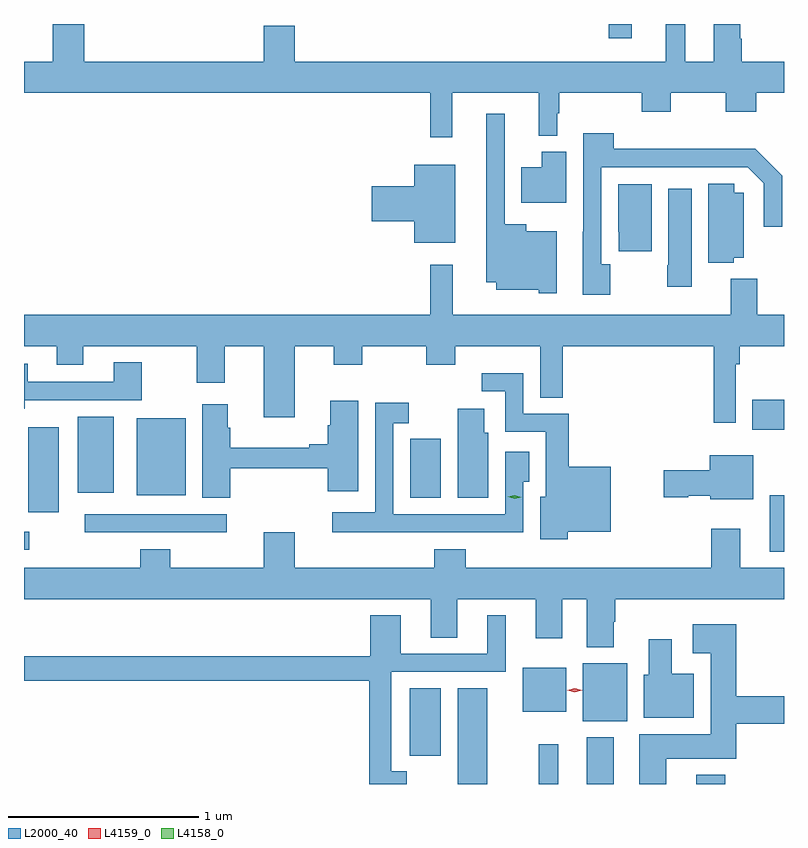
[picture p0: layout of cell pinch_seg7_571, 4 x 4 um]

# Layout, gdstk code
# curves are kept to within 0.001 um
import gdstk
lib = gdstk.Library(unit=1e-6, precision=1e-09)
def R(c, l, rs):  # rectangles x0, y0, x1, y1
    for r in rs: c.add(gdstk.rectangle(r[:2], r[2:], *l))
def P(c, l, *ps):  # polygons
    for p in ps: c.add(gdstk.Polygon(p, *l))
L2000_40 = (2000, 40)
L4158_0 = (4158, 0)
L4159_0 = (4159, 0)

pinch_seg7_571 = lib.new_cell('pinch_seg7_571')
R(pinch_seg7_571, L2000_40, [(225.968,1047.595,226.123,1048.1), (226.396,1047.595,226.498,1047.805), (226.649,1047.595,226.789,1047.841), (227.225,1047.595,227.378,1047.643), (225.716,1047.744,225.88,1048.1), (226.628,1047.926,226.861,1048.231), (226.31,1047.974,226.54,1048.207), (227.612,1048.818,227.686,1049.115), (223.686,1048.827,223.714,1048.923), (224.007,1048.92,224.752,1049.016), (223.709,1049.025,223.87,1049.473), (225.719,1049.101,225.88,1049.412), (224.279,1049.114,224.536,1049.521), (223.97,1049.129,224.158,1049.527), (227.518,1049.459,227.686,1049.617), (226.764,1051.521,226.885,1051.595)])
P(pinch_seg7_571, L2000_40, [(225.941,1051.232),(226.394,1051.232),(226.394,1051.007),(226.492,1051.007),(226.492,1051.125),(226.504,1051.125),(226.504,1051.232),(226.936,1051.232),(226.936,1051.133),(227.091,1051.133),(227.091,1051.232),(227.38,1051.232),(227.38,1051.133),(227.54,1051.133),(227.54,1051.232),(227.686,1051.232),(227.686,1051.396),(227.463,1051.396),(227.463,1051.517),(227.455,1051.517),(227.455,1051.595),(227.315,1051.595),(227.315,1051.396),(227.167,1051.396),(227.167,1051.595),(227.063,1051.595),(227.063,1051.396),(225.112,1051.396),(225.112,1051.585),(224.948,1051.585),(224.948,1051.396),(224.002,1051.396),(224.002,1051.595),(223.838,1051.595),(223.838,1051.396),(223.686,1051.396),(223.686,1051.232),(225.823,1051.232),(225.823,1050.999),(225.941,1050.999)],
  [(226.489,1050.505),(226.33,1050.505),(226.33,1050.541),(226.215,1050.541),(226.215,1051.123),(226.118,1051.123),(226.118,1050.236),(226.172,1050.236),(226.172,1050.197),(226.395,1050.197),(226.395,1050.179),(226.489,1050.179)],
  [(226.771,1050.331),(226.725,1050.331),(226.725,1050.84),(227.496,1050.84),(227.58,1050.756),(227.58,1050.528),(227.676,1050.528),(227.676,1050.796),(227.535,1050.938),(226.789,1050.938),(226.789,1051.021),(226.629,1051.021),(226.628,1050.171),(226.771,1050.171)],
  [(226.54,1050.922),(226.412,1050.922),(226.412,1050.841),(226.304,1050.841),(226.304,1050.653),(226.54,1050.653)],
  [(225.955,1050.853),(225.74,1050.853),(225.74,1050.74),(225.516,1050.74),(225.516,1050.557),(225.74,1050.557),(225.74,1050.443),(225.955,1050.443)],
  [(227.421,1050.365),(227.473,1050.365),(227.473,1050.708),(227.424,1050.708),(227.424,1050.755),(227.288,1050.755),(227.288,1050.338),(227.421,1050.338)],
  [(226.99,1050.751),(226.814,1050.751),(226.814,1050.502),(226.815,1050.502),(226.815,1050.399),(226.99,1050.399)],
  [(227.2,1050.727),(227.078,1050.727),(227.078,1050.325),(227.071,1050.325),(227.071,1050.213),(227.2,1050.213)],
  [(227.433,1049.804),(227.453,1049.804),(227.453,1049.9),(227.686,1049.9),(227.686,1050.064),(227.545,1050.064),(227.545,1050.253),(227.405,1050.253),(227.405,1050.064),(225.942,1050.064),(225.942,1050.328),(225.823,1050.328),(225.823,1050.064),(223.686,1050.064),(223.686,1049.9),(223.859,1049.9),(223.859,1049.801),(223.999,1049.801),(223.999,1049.9),(224.596,1049.9),(224.596,1049.706),(224.743,1049.706),(224.743,1049.9),(224.948,1049.9),(224.948,1049.526),(225.112,1049.526),(225.112,1049.9),(225.317,1049.9),(225.317,1049.801),(225.465,1049.801),(225.465,1049.9),(225.802,1049.9),(225.802,1049.801),(225.957,1049.801),(225.957,1049.9),(226.403,1049.9),(226.403,1049.629),(226.522,1049.629),(226.522,1049.9),(227.317,1049.9),(227.317,1049.496),(227.433,1049.496)],
  [(223.69,1049.616),(224.307,1049.616),(224.307,1049.815),(224.159,1049.815),(224.159,1049.712),(223.705,1049.712),(223.705,1049.806),(223.686,1049.806),(223.686,1049.57),(223.69,1049.57)],
  [(226.547,1048.922),(226.774,1048.922),(226.774,1049.266),(226.552,1049.266),(226.552,1049.544),(226.314,1049.544),(226.314,1049.758),(226.095,1049.758),(226.095,1049.661),(226.218,1049.661),(226.218,1049.448),(226.433,1049.448),(226.433,1049.107),(226.403,1049.107),(226.403,1048.883),(226.547,1048.883)],
  [(224.771,1049.256),(225.284,1049.256),(225.284,1049.136),(225.445,1049.136),(225.445,1049.611),(225.299,1049.611),(225.299,1049.484),(225.284,1049.484),(225.284,1049.384),(225.188,1049.384),(225.188,1049.365),(224.771,1049.365),(224.771,1049.471),(224.758,1049.471),(224.758,1049.593),(224.624,1049.593),(224.624,1049.101),(224.771,1049.101)],
  [(225.727,1048.92),(226.093,1048.92),(226.093,1048.919),(226.314,1048.919),(226.314,1049.185),(226.345,1049.185),(226.345,1049.344),(226.218,1049.344),(226.218,1049.016),(225.63,1049.016),(225.63,1049.493),(225.712,1049.493),(225.712,1049.602),(225.534,1049.602),(225.534,1049.026),(225.309,1049.026),(225.309,1048.919),(225.727,1048.919)],
  [(226.129,1049.445),(226.108,1049.445),(226.108,1049.569),(225.968,1049.569),(225.968,1049.101),(226.129,1049.101)],
  [(227.524,1049.326),(227.294,1049.326),(227.294,1049.246),(227.052,1049.246),(227.052,1049.104),(227.181,1049.104),(227.181,1049.111),(227.298,1049.111),(227.298,1049.093),(227.524,1049.093)],
  [(226.789,1048.448),(226.797,1048.448),(226.797,1048.568),(227.686,1048.568),(227.686,1048.732),(227.455,1048.732),(227.455,1048.939),(227.303,1048.939),(227.303,1048.732),(226.01,1048.732),(226.01,1048.831),(225.845,1048.831),(225.845,1048.732),(225.112,1048.732),(225.112,1048.921),(224.948,1048.921),(224.948,1048.732),(224.457,1048.732),(224.457,1048.831),(224.297,1048.831),(224.297,1048.732),(223.686,1048.732),(223.686,1048.568),(225.827,1048.568),(225.827,1048.366),(225.967,1048.366),(225.967,1048.568),(226.379,1048.568),(226.379,1048.362),(226.519,1048.362),(226.519,1048.568),(226.649,1048.568),(226.649,1048.316),(226.789,1048.316)],
  [(225.7,1047.663),(225.618,1047.663),(225.618,1048.185),(226.222,1048.185),(226.222,1048.483),(226.124,1048.483),(226.124,1048.281),(225.67,1048.281),(225.67,1048.483),(225.509,1048.483),(225.509,1048.267),(223.686,1048.267),(223.686,1048.138),(225.502,1048.138),(225.502,1047.595),(225.7,1047.595)],
  [(227.065,1047.728),(227.435,1047.728),(227.435,1047.911),(227.686,1047.911),(227.686,1048.058),(227.435,1048.058),(227.435,1048.435),(227.205,1048.435),(227.205,1048.283),(227.3,1048.283),(227.3,1047.856),(226.925,1047.856),(226.925,1047.595),(227.065,1047.595)],
  [(227.212,1048.174),(227.095,1048.174),(227.095,1048.357),(226.973,1048.357),(226.973,1048.17),(226.949,1048.17),(226.949,1047.944),(227.212,1047.944)])
P(pinch_seg7_571, L4158_0, [(226.268,1049.096),(226.233,1049.107),(226.233,1049.107),(226.233,1049.107),(226.268,1049.116),(226.304,1049.105),(226.304,1049.105),(226.304,1049.105)])
P(pinch_seg7_571, L4159_0, [(226.584,1048.079),(226.545,1048.088),(226.545,1048.089),(226.545,1048.089),(226.584,1048.099),(226.623,1048.089),(226.623,1048.089),(226.623,1048.088)])

lib.write_gds('pinch_seg7_571.gds')
